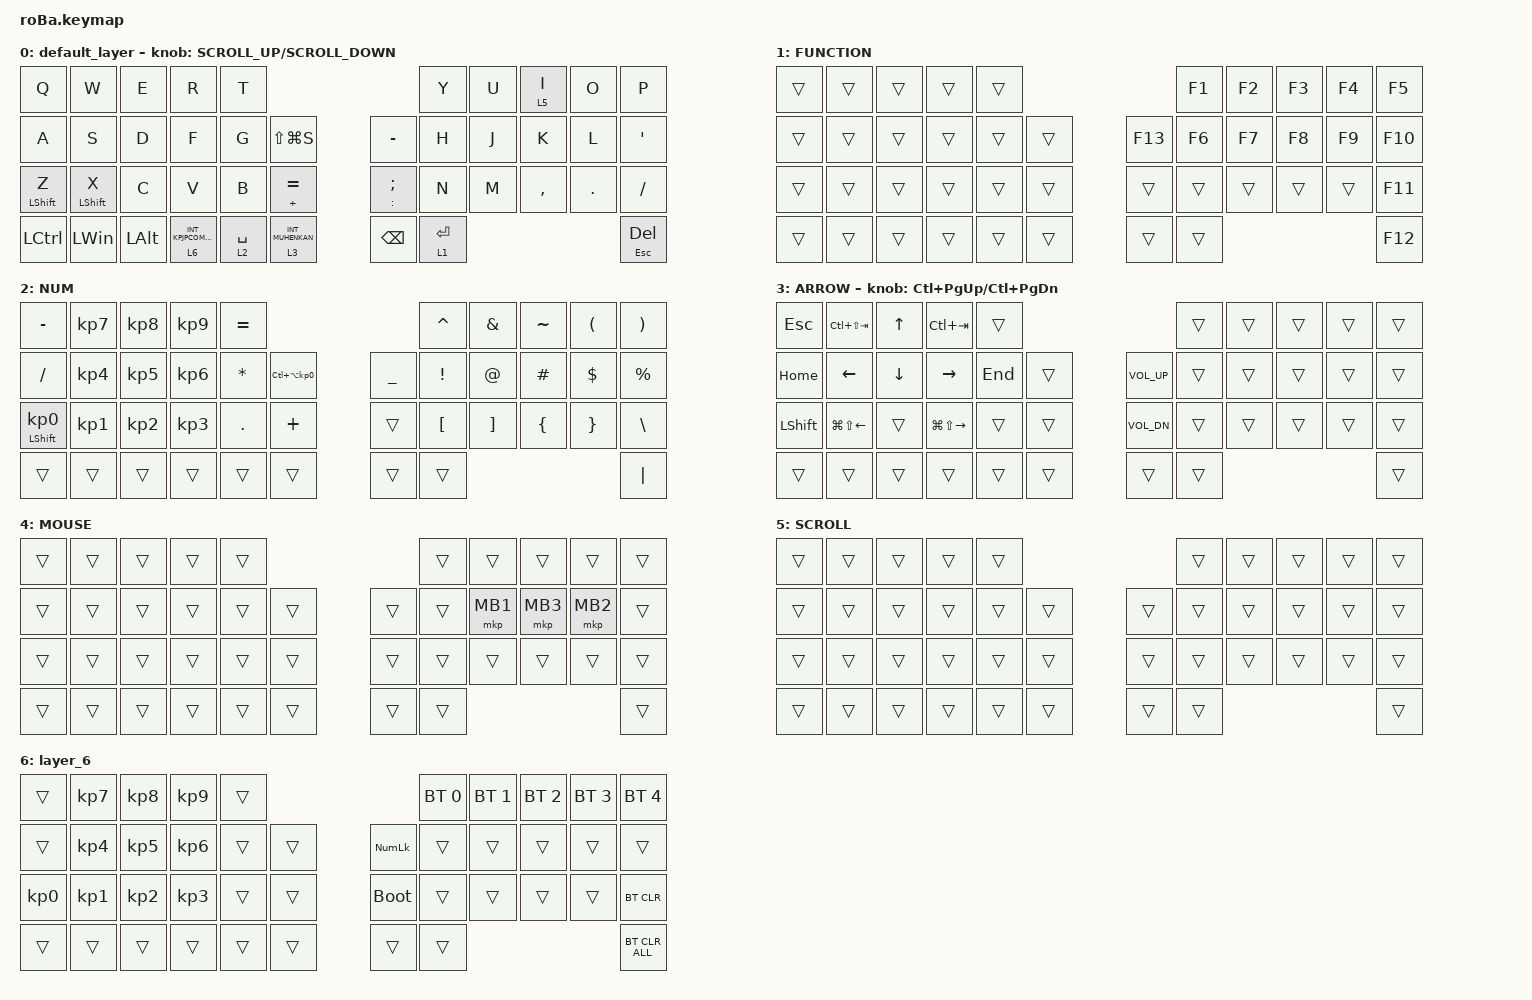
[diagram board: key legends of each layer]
#include <behaviors.dtsi>
#include <dt-bindings/zmk/bt.h>
#include <dt-bindings/zmk/keys.h>
#include <dt-bindings/zmk/pointing.h>

&mt {
    flavor = "balanced";
    quick-tap-ms = <0>;
};

/ {
    combos {
        compatible = "zmk,combos";

        tab {
            bindings = <&kp TAB>;
            key-positions = <11 12>;
        };

        shift_tab {
            bindings = <&kp LS(TAB)>;
            key-positions = <12 13>;
        };

        muhennkann {
            bindings = <&to_layer_0 INT_MUHENKAN>;
            key-positions = <11 10>;
        };

        eq {
            bindings = <&kp EQUAL>;
            key-positions = <24 25>;
        };

        left {
            bindings = <&mkp MB1>;
            key-positions = <18 19>;
        };

        middle {
            bindings = <&mkp MB3>;
            key-positions = <19 20>;
        };

        right {
            bindings = <&mkp MB2>;
            key-positions = <20 21>;
        };
    };

    macros {
        to_layer_0: to_layer_0 {
            compatible = "zmk,behavior-macro-one-param";
            #binding-cells = <1>;
            bindings = <&to 0 &macro_param_1to1 &kp MACRO_PLACEHOLDER>;
            label = "TO_LAYER_0";
        };
    };

    behaviors {
        lt_to_layer_0: lt_to_layer_0 {
            compatible = "zmk,behavior-hold-tap";
            label = "LAYER_TAP_TO_0";
            bindings = <&mo>, <&to_layer_0>;

            #binding-cells = <2>;
            tapping-term-ms = <30>;
        };

        new_behavior: new_behavior {
            compatible = "zmk,behavior-sensor-rotate-var";
            label = "NEW_BEHAVIOR";
            #sensor-binding-cells = <2>;
            bindings = <&none>, <&none>;
        };
    };

    keymap {
        compatible = "zmk,keymap";

        default_layer {
            bindings = <
&kp Q             &kp W             &kp E         &kp R                           &kp T                                                                &kp Y        &kp U  &lt 5 I    &kp O    &kp P
&kp A             &kp S             &kp D         &kp F                           &kp G        &kp LS(LG(S))                      &kp MINUS            &kp H        &kp J  &kp K      &kp L    &kp SQT
&mt LEFT_SHIFT Z  &mt LEFT_SHIFT X  &kp C         &kp V                           &kp B        &mt PLUS EQUAL                     &mt COLON SEMICOLON  &kp N        &kp M  &kp COMMA  &kp DOT  &kp SLASH
&kp LCTRL         &kp LEFT_WIN      &kp LEFT_ALT  &lt_to_layer_0 6 INT_KPJPCOMMA  &lt 2 SPACE  &lt_to_layer_0 3 INT_MUHENKAN      &kp BACKSPACE        &lt 1 ENTER                             &mt ESCAPE DEL
            >;

            sensor-bindings = <&inc_dec_kp K_SCROLL_UP K_SCROLL_DOWN>;
        };

        FUNCTION {
            bindings = <
&trans  &trans  &trans  &trans  &trans                       &kp F1  &kp F2  &kp F3  &kp F4  &kp F5
&trans  &trans  &trans  &trans  &trans  &trans      &kp F13  &kp F6  &kp F7  &kp F8  &kp F9  &kp F10
&trans  &trans  &trans  &trans  &trans  &trans      &trans   &trans  &trans  &trans  &trans  &kp F11
&trans  &trans  &trans  &trans  &trans  &trans      &trans   &trans                          &kp F12
            >;
        };

        NUM {
            bindings = <
&kp MINUS                   &kp KP_NUMBER_7  &kp KP_NUMBER_8  &kp KP_NUMBER_9  &kp EQUAL                                                  &kp CARET         &kp AMPERSAND      &kp TILDE       &kp LEFT_PARENTHESIS  &kp RIGHT_PARENTHESIS
&kp SLASH                   &kp KP_NUMBER_4  &kp KP_NUMBER_5  &kp KP_NUMBER_6  &kp ASTERISK  &kp LC(LA(KP_NUMBER_0))      &kp UNDERSCORE  &kp EXCLAMATION   &kp AT_SIGN        &kp HASH        &kp DOLLAR            &kp PERCENT
&mt LEFT_SHIFT KP_NUMBER_0  &kp KP_NUMBER_1  &kp KP_NUMBER_2  &kp KP_NUMBER_3  &kp PERIOD    &kp PLUS                     &trans          &kp LEFT_BRACKET  &kp RIGHT_BRACKET  &kp LEFT_BRACE  &kp RIGHT_BRACE       &kp BACKSLASH
&trans                      &trans           &trans           &trans           &trans        &trans                       &trans          &trans                                                                     &kp PIPE
            >;
        };

        ARROW {
            bindings = <
&kp ESCAPE      &kp LC(LS(TAB))         &kp UP_ARROW    &kp LC(TAB)              &trans                                &trans  &trans  &trans  &trans  &trans
&kp HOME        &kp LEFT_ARROW          &kp DOWN_ARROW  &kp RIGHT_ARROW          &kp END  &trans      &kp C_VOLUME_UP  &trans  &trans  &trans  &trans  &trans
&kp LEFT_SHIFT  &kp LG(LS(LEFT_ARROW))  &trans          &kp LG(LS(RIGHT_ARROW))  &trans   &trans      &kp C_VOL_DN     &trans  &trans  &trans  &trans  &trans
&trans          &trans                  &trans          &trans                   &trans   &trans      &trans           &trans                          &trans
            >;

            sensor-bindings = <&inc_dec_kp LC(PAGE_UP) LC(PAGE_DOWN)>;
        };

        MOUSE {
            bindings = <
&trans  &trans  &trans  &trans  &trans                      &trans  &trans    &trans    &trans    &trans
&trans  &trans  &trans  &trans  &trans  &trans      &trans  &trans  &mkp MB1  &mkp MB3  &mkp MB2  &trans
&trans  &trans  &trans  &trans  &trans  &trans      &trans  &trans  &trans    &trans    &trans    &trans
&trans  &trans  &trans  &trans  &trans  &trans      &trans  &trans                                &trans
            >;
        };

        SCROLL {
            bindings = <
&trans  &trans  &trans  &trans  &trans                      &trans  &trans  &trans  &trans  &trans
&trans  &trans  &trans  &trans  &trans  &trans      &trans  &trans  &trans  &trans  &trans  &trans
&trans  &trans  &trans  &trans  &trans  &trans      &trans  &trans  &trans  &trans  &trans  &trans
&trans  &trans  &trans  &trans  &trans  &trans      &trans  &trans                          &trans
            >;
        };

        layer_6 {
            bindings = <
&trans     &kp KP_N7  &kp KP_N8  &kp KP_N9  &trans                              &bt BT_SEL 0  &bt BT_SEL 1  &bt BT_SEL 2  &bt BT_SEL 3  &bt BT_SEL 4
&trans     &kp KP_N4  &kp KP_N5  &kp KP_N6  &trans  &trans      &kp KP_NUMLOCK  &trans        &trans        &trans        &trans        &trans
&kp KP_N0  &kp KP_N1  &kp KP_N2  &kp KP_N3  &trans  &trans      &bootloader     &trans        &trans        &trans        &trans        &bt BT_CLR
&trans     &trans     &trans     &trans     &trans  &trans      &trans          &trans                                                  &bt BT_CLR_ALL
            >;
        };
    };
};
